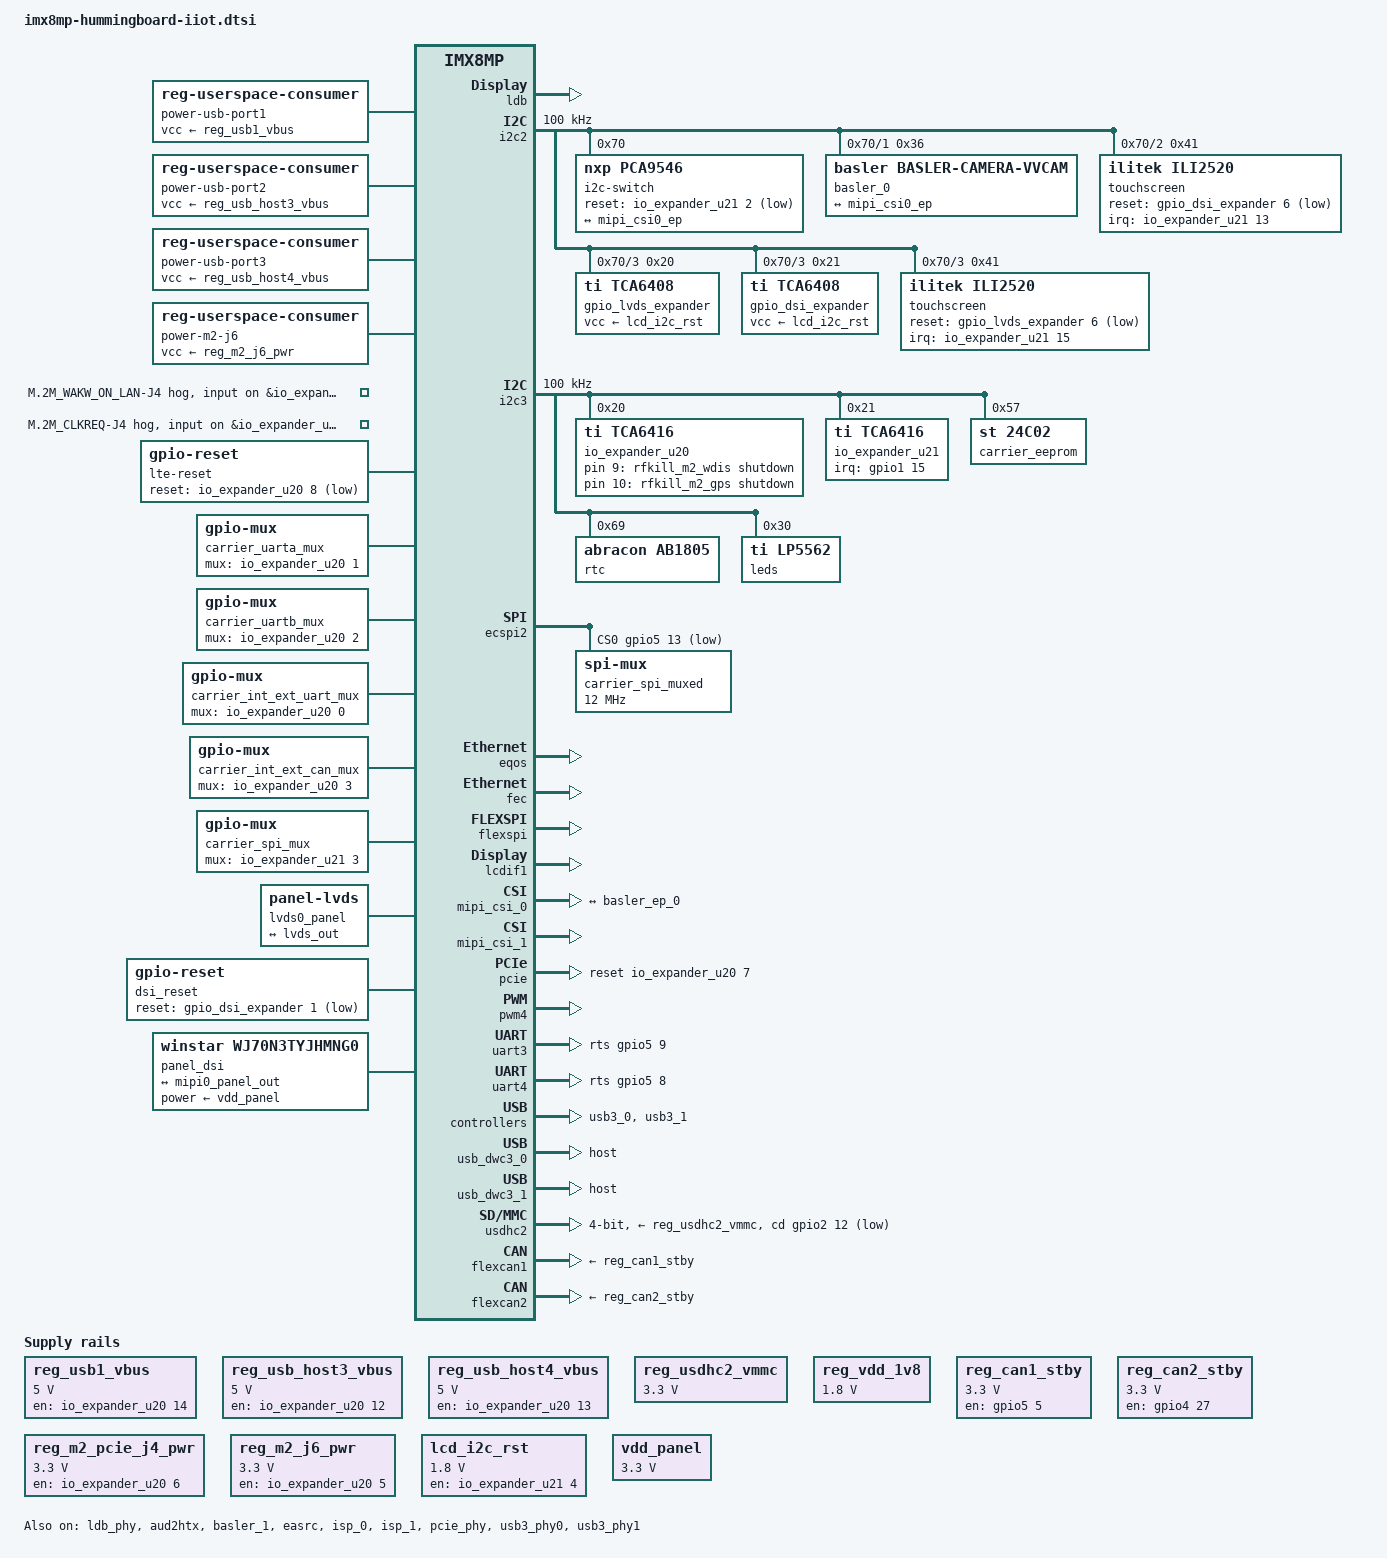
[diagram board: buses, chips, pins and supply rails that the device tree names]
// SPDX-License-Identifier: (GPL-2.0+ OR MIT)
/*
 * Copyright (c) 2024 SolidRun Ltd.
 */

#include <dt-bindings/leds/common.h>
#include <dt-bindings/usb/pd.h>
#include <dt-bindings/gpio/gpio.h>
#include <dt-bindings/interrupt-controller/irq.h>
#include "imx8mp-sr-som.dtsi"

/* UARTA (UART3): Select RS232 or RS485 */
#define UARTA_SEL_RS232_RS485 1 // {0:RS323,1:RS485}
/* UARTB (UART4): Select RS232 or RS485 */
#define UARTB_SEL_RS232_RS485 1 // {0:RS323,1:RS485}
/* UARTA and UARTB: Select Internal or External */
#define UARTA_UARTB_SEL_INT_EXT 0 // {0:INT,1:EXT}
/* CANA and CANB: Select Internal or External */
#define CANA_CANB_SEL_INT_EXT 0 // {0:INT,1:EXT}
/* SPI MUX TPM/EXT {Select TPM or EXTERNAL_SPI_DEVICE} */
#define SPI_SEL_TPM_EXT 0 // {0:TPM,1:EXT}

/ {
	/* USB1_VBUS */
	power-usb-port1 {
		compatible = "reg-userspace-consumer";
		regulator-name = "usb-port1-pwr-consumer";
		regulator-boot-on;
		regulator-supplies = "vcc";
		vcc-supply = <&reg_usb1_vbus>;
		comment = "USB Port1 vbus power switch";
	};

	/* USB_HOST3_VBUS */
	power-usb-port2 {
		compatible = "reg-userspace-consumer";
		regulator-name = "usb-port2-pwr-consumer";
		regulator-boot-on;
		regulator-supplies = "vcc";
		vcc-supply = <&reg_usb_host3_vbus>;
		comment = "USB Port2 vbus power switch";
	};

	/* USB_HOST4_VBUS */
	power-usb-port3 {
		compatible = "reg-userspace-consumer";
		regulator-name = "usb-port3-pwr-consumer";
		regulator-boot-on;
		regulator-supplies = "vcc";
		vcc-supply = <&reg_usb_host4_vbus>;
		comment = "USB Port3 vbus power switch";
	};

	/* USB1_PWR_EN (USB1_VBUS) */
	reg_usb1_vbus: regulator-usb1-vbus {
		compatible = "regulator-fixed";
		regulator-name = "usb1_vbus";
		pinctrl-names = "default";
		regulator-min-microvolt = <5000000>;
		regulator-max-microvolt = <5000000>;
		gpio = <&io_expander_u20 14 GPIO_ACTIVE_HIGH>; /* TBD - USB1_PWR_EN */
		enable-active-high;
	};

	/* USB_HUB3_PWR_EN (USB_HOST3_VBUS) */
	reg_usb_host3_vbus: regulator-usb1-vbus {
		compatible = "regulator-fixed";
		regulator-name = "usb_host3_vbus";
		pinctrl-names = "default";
		regulator-min-microvolt = <5000000>;
		regulator-max-microvolt = <5000000>;
		gpio = <&io_expander_u20 12 GPIO_ACTIVE_HIGH>; /* TBD - USB1_PWR_EN */
		enable-active-high;
	};

	/* USB_HUB4_PWR_EN (USB_HOST4_VBUS) */
	reg_usb_host4_vbus: regulator-usb1-host-vbus {
		compatible = "regulator-fixed";
		regulator-name = "usb_host4_vbus";
		pinctrl-names = "default";
		regulator-min-microvolt = <5000000>;
		regulator-max-microvolt = <5000000>;
		gpio = <&io_expander_u20 13 GPIO_ACTIVE_HIGH>; /* TBD - USB_HUB3_PWR_EN */
		enable-active-high;
	};

	/* uSD regulator */
	reg_usdhc2_vmmc: regulator-usdhc2 {
		compatible = "regulator-fixed";
		pinctrl-names = "default";
		pinctrl-0 = <&pinctrl_reg_usdhc2_vmmc>;
		regulator-name = "VSD_3V3";
		regulator-min-microvolt = <3300000>;
		regulator-max-microvolt = <3300000>;
		//gpio = <&gpio2 19 GPIO_ACTIVE_HIGH>;
		regulator-always-on;
	};

	reg_vdd_1v8: regulator-vdd-1v8 {
		compatible = "regulator-fixed";
		regulator-name = "VDD_1V8";
		vdd-3v3-supply = <&buck4>;
		regulator-min-microvolt = <1800000>;
		regulator-max-microvolt = <1800000>;
		regulator-always-on;
	};

	/* CAN-1 Regulator */
	reg_can1_stby: regulator-can1-stby {
		compatible = "regulator-fixed";
		regulator-name = "can1-stby";
		pinctrl-names = "default";
		pinctrl-0 = <&pinctrl_flexcan1_reg>;
		regulator-min-microvolt = <3300000>;
		regulator-max-microvolt = <3300000>;
		gpio = <&gpio5 5 GPIO_ACTIVE_HIGH>;
		enable-active-high;
	};

	/* CAN-2 Regulator */
	reg_can2_stby: regulator-can2-stby {
		compatible = "regulator-fixed";
		regulator-name = "can2-stby";
		pinctrl-names = "default";
		pinctrl-0 = <&pinctrl_flexcan2_reg>;
		regulator-min-microvolt = <3300000>;
		regulator-max-microvolt = <3300000>;
		gpio = <&gpio4 27 GPIO_ACTIVE_HIGH>;
		enable-active-high;
	};

	/*
		* J4: M.2 Support PCIe only (M.2 KEY-M)
		* J6: M.2 Support USB3.0/USB2.0 (M.2 KEY-B)
		*
	*/

	/* J4: M.2M_3V3_EN */
	reg_m2_pcie_j4_pwr: regulator-m2-pcie-j4-pwr {
		compatible = "regulator-fixed";
		regulator-name = "m2-j4-pcie-pwr";
		pinctrl-names = "default";
		regulator-min-microvolt = <3300000>;
		regulator-max-microvolt = <3300000>;
		gpio = <&io_expander_u20 6 GPIO_ACTIVE_HIGH>; // U20[P6]
		enable-active-high;
	};

	/* J6: M.2B_3V3 */
	power-m2-j6 {
		compatible = "reg-userspace-consumer";
		regulator-name = "m2-j6-pwr-consumer";
		regulator-boot-on;
		regulator-supplies = "vcc";
		vcc-supply = <&reg_m2_j6_pwr>;
		comment = "m.2 j6 3.3V connector switch";
	};

	/* J6: M.2B_3V3_EN */
	reg_m2_j6_pwr: regulator-m2-j6-pwr {
		compatible = "regulator-fixed";
		regulator-name = "m2-j6-pwr";
		pinctrl-names = "default";
		regulator-min-microvolt = <3300000>;
		regulator-max-microvolt = <3300000>;
		gpio = <&io_expander_u20 5 GPIO_ACTIVE_HIGH>; // U20[P5]
		enable-active-high;
	};

	/* Enable this node for M.2 LTE modem rfkill support (M.2 J6) */
	rfkill_m2_wdis {
		compatible = "rfkill-gpio";
		pinctrl-names = "default";
		rfkill-name = "m2_wdis";
		rfkill-type = <5>;
		shutdown-gpio = <&io_expander_u20 9 GPIO_ACTIVE_HIGH>; // M.2B_W_DIS U20_P[11]
		status = "okay";
	};

	/* GPIO Controll M.2-J6 rfkill */
	rfkill_m2_gps {
		compatible = "rfkill-gpio";
		pinctrl-names = "default";
		rfkill-name = "m2_gps";
		rfkill-type = <6>;
		shutdown-gpio = <&io_expander_u20 10 GPIO_ACTIVE_HIGH>;// M.2B_GPS_EN U20_P[12]
		status = "okay";
	};

	/* M.2M-J4 PCIe Wake-On LAN */
	gpio-m2m-wakew-on-lan-hog {
		gpio-hog;
		gpios = <&io_expander_u21 11 GPIO_ACTIVE_HIGH>;// M.2M_WAKW_ON_LAN U21_P[13]
		input;
		line-name = "M.2M_WAKW_ON_LAN-J4";
	};

	/* M.2M-J4 PCIe CLKREQ */
	gpio-m2m-clkreq-hog {
		gpio-hog;
		gpios = <&io_expander_u21 12 GPIO_ACTIVE_HIGH>; // M.2M_CLKREQ U21_P[14]
		input;
		line-name = "M.2M_CLKREQ-J4";
	};

	/* M.2B-J4 Reset */
	lte-reset {
		compatible = "gpio-reset";
		reset-gpios = <&io_expander_u20 8 GPIO_ACTIVE_LOW>; // M.2B_RESET U20_P[10]
		reset-delay-us = <2000>;
		reset-post-delay-ms = <40>;
		#reset-cells = <0>;
	};

	/* UARTA (UART3): Select RS232 or RS485 */
    carrier_uarta_mux: uarta-mux-controller_carrier {
        compatible = "gpio-mux";
        #mux-control-cells = <0>;
        mux-gpios = <&io_expander_u20 1 GPIO_ACTIVE_HIGH>; // UARTA_232/485 U20_P[1]
		#if UARTA_SEL_RS232_RS485
			idle-state = <1>; /* RS485 */
		#else
		idle-state = <0>; /* RS232 */
		#endif
    };

	/* UARTB (UART4): Select RS232 or RS485 */
    carrier_uartb_mux: uartb-mux-controller_carrier {
        compatible = "gpio-mux";
        #mux-control-cells = <0>;
        mux-gpios = <&io_expander_u20 2 GPIO_ACTIVE_HIGH>; // UARTB_232/485 U20_P[2]
		#if UARTB_SEL_RS232_RS485
			idle-state = <1>; /* RS485 */
		#else
			idle-state = <0>; /* RS232 */
		#endif
    };

	/* UARTA and UARTB: Select Internal or External */
    carrier_int_ext_uart_mux: int-ext-uart-mux-controller_carrier {
        compatible = "gpio-mux";
        #mux-control-cells = <0>;
        mux-gpios = <&io_expander_u20 0 GPIO_ACTIVE_HIGH>; // INT/EXT_UART U20_P[0]
		#if UARTA_UARTB_SEL_INT_EXT
			idle-state = <1>; /* External */
		#else
		idle-state = <0>; /* Internal */
		#endif
    };

	/* CANA and CANB: Select Internal or External */
    carrier_int_ext_can_mux: int-ext-can-mux-controller_carrier {
        compatible = "gpio-mux";
        #mux-control-cells = <0>;
        mux-gpios = <&io_expander_u20 3 GPIO_ACTIVE_HIGH>; // INT/EXT_CAN U20_P[3]
		#if CANA_CANB_SEL_INT_EXT
			idle-state = <1>; /* External */
		#else
		idle-state = <0>; /* Internal */
		#endif
    };

	/* SPI MUX TPM/EXT {Select TPM or EXTERNAL_SPI_DEVICE} */
    carrier_spi_mux: spi-mux-controller_carrier {
        compatible = "gpio-mux"; // MUX Type: 'TMUX1574Dx'
        #mux-control-cells = <0>;
        mux-gpios = <&io_expander_u21 3 GPIO_ACTIVE_HIGH>; // SPI_TPM/EXT U21_P[0]
		#if SPI_SEL_TPM_EXT
			idle-state = <1>; /* External */
		#else
		idle-state = <0>; /* Internal */
		#endif
    };

	/* MIPI-DSI and LVDS I/O Exapnders (U37, U48) Reset */
    lcd_i2c_rst: lcd-i2c-rst {
        compatible = "regulator-fixed";
        regulator-name = "lcd_i2c_rst";
        regulator-min-microvolt = <1800000>;
        regulator-max-microvolt = <1800000>;
        gpios = <&io_expander_u21 4 GPIO_ACTIVE_HIGH>; //
        enable-active-high;
    };

    /* LVDS [J24] */
	/* Setting for Winstar Display 'WF70A8SYJHLNGA' */
	lvds0_panel {
		compatible = "panel-lvds";
		status = "okay";
		width-mm = <154>;
		height-mm = <86>;
		//backlight = <&backlight_lvds>;
		data-mapping = "vesa-24";

		panel-timing {
			/* timing for panel WF70A8SYJHLNGA */
			/* 1024x600@60Hz */
			clock-frequency = <51200000>;
			hactive = <1024>;
			vactive = <600>;
			hfront-porch = <90>;
			hback-porch = <160>;
			hsync-len = <70>;
			vfront-porch = <10>;
			vback-porch = <23>;
			vsync-len = <2>;
		};

		port {
			panel_lvds_in: endpoint {
				remote-endpoint = <&lvds_out>;
			};
		};
	};

	dsi_reset: dsi-reset {
		compatible = "gpio-reset"; // "regulator-fixed";
		reset-gpios = <&gpio_dsi_expander 1 GPIO_ACTIVE_LOW>;
		reset-delay-us = <2000>;
		reset-post-delay-ms = <40>;
		#reset-cells = <0>;
	};

	vdd_panel: vdd-panel {
			compatible = "regulator-fixed";
			regulator-name = "vdd_panel";
			regulator-min-microvolt = <3300000>;
			regulator-max-microvolt = <3300000>;
		#if 0 // <TBD>
			gpios = <&io_expander_u20 15 GPIO_ACTIVE_HIGH>;
			enable-active-high;
		#endif
	};

#if 1
	/* DSI Panel - Winstar WJ70N3TYJHMNG0 [J25] */
	panel_dsi: panel-dsi {
		status = "okay";
		compatible = "winstar,wj70n3tyjhmng0"; // "panel-simple-dsi"
		//reg = <0>;
		power-supply = <&vdd_panel>;
        dsi-lanes = <4>;
		port {
			panel0_in: endpoint {
					remote-endpoint = <&mipi0_panel_out>;
			};
		};
	};
#endif
};

&ldb {
	status = "okay";
	lvds-channel@0 {
			fsl,data-mapping = "spwg";
			fsl,data-width = <24>;
			status = "okay";

			port@1 {
					reg = <1>;

					lvds_out: endpoint {
							remote-endpoint = <&panel_lvds_in>;
					};
			};
	};
};

&ldb_phy {
    status = "okay";
};

&i2c2 {
	clock-frequency = <100000>;
	pinctrl-names = "default";
	pinctrl-0 = <&pinctrl_i2c2>;
	status = "okay";

	/* I2C Swich - PCA9546x */
    i2c-switch@70 {
		/*
		* channel0: External I2C
		* channel1: CSI I2C
		* channel2: DSI I2C
		* channel3: LVDS I2C
		*/
        compatible = "nxp,pca9546";
        reg = <0x70>;
        #address-cells = <1>;
		#size-cells = <0>;
        reset-gpios = <&io_expander_u21 2 GPIO_ACTIVE_LOW>;

		/* channel0: External I2C */
		i2c_ext: i2c@0 {
			#address-cells = <1>;
			#size-cells = <0>;
			reg = <0>;
		};

		/* channel1: CSI I2C */
        i2c_csi: i2c@1 {
			#address-cells = <1>;
			#size-cells = <0>;
			reg = <1>;

			basler_0: basler_camera_vvcam@36 {
				compatible = "basler,basler-camera-vvcam", "basler-camera-vvcam";
				reg = <0x36>;
				csi_id = <0x00>;
				status = "okay";

				port {
					basler_ep_0: endpoint {
						data-lanes = <1 2 3 4>;
						clock-lanes = <0>;
						link-frequencies = /bits/ 64 <750000000>;

						max-lane-frequency = /bits/ 64 <750000000>;
						max-pixel-frequency = /bits/ 64 <266000000>;
						max-data-rate = /bits/ 64 <0>;

						remote-endpoint = <&mipi_csi0_ep>;
					};
				};
			};
		};

		/* channel2: DSI I2C */
        i2c_dsi: i2c@2 {
			#address-cells = <1>;
			#size-cells = <0>;
			reg = <2>;

			/* DSI Touch Screen [J25] */
			touchscreen@41 {
				/* ili2520 part of the Winstart Display WJ70N3TYJHMNG0 */
				compatible = "ilitek,ili2520";
				reg = <0x41>;

				interrupt-parent = <&io_expander_u21>;
				interrupts = <13 IRQ_TYPE_LEVEL_LOW>;	// <TBD> U21_P[15]=LVDS_INT (shared INT for DSI and LVDS)
				reset-gpios = <&gpio_dsi_expander 6 GPIO_ACTIVE_LOW>; // DSI_CTP/RST U48_P[6] (External Reset, Low is active)
				//touchscreen-inverted-y;
				//wakeup-source;
			};
		};

		/* channel3: LVDS I2C */
		i2c_lvds: i2c@3 {
			#address-cells = <1>;
			#size-cells = <0>;
			reg = <3>;

			/* io_expander_u37 */
			gpio_lvds_expander: tca6408@20 {
				compatible = "ti,tca6408";
				reg = <0x20>;
				gpio-controller;
				#gpio-cells = <2>;
				vcc-supply = <&lcd_i2c_rst>;
				gpio-line-names =
				"SELB",
				"LVDS_RESET",
				"LVDS_STBYB",
				"LVDS_PWM_BL",
				"LVDS_L/R",
				"LVDS_U/D",
				"LVDS_CTP_/RST",
				"NC-7";
				SELB_hog {
					gpio-hog;
					gpios = <0 GPIO_ACTIVE_HIGH>;
					output-high;
					line-name = "SELB";
				};
			#if 1
				LVDS_RESET_hog {
					gpio-hog;
					gpios = <1 GPIO_ACTIVE_HIGH>;
					output-high;
					line-name = "LVDS_RESET";
				};
				LVDS_STBYB_hog {
					gpio-hog;
					gpios = <2 GPIO_ACTIVE_HIGH>;
					output-high;
					line-name = "LVDS_STBYB";
				};
			#endif
				/* Display Backlight control signal*/
				LVDS_PWM_BL_hog {
					gpio-hog;
					gpios = <3 GPIO_ACTIVE_LOW>;
					output-high;
					line-name = "LVDS_PWM_BL";
				};
				LVDS_LR_hog {
					gpio-hog;
					gpios = <4 GPIO_ACTIVE_HIGH>;
					output-high;
					line-name = "LVDS_L/R";
				};
				LVDS_UD_hog {
					gpio-hog;
					gpios = <5 GPIO_ACTIVE_HIGH>;
					output-high;
					line-name = "LVDS_U/D";
				};
				/* // <TBD>
				LVDS_CTP_RST_hog {
					gpio-hog;
					gpios = <6 GPIO_ACTIVE_HIGH>;
					output-high;
					line-name = "LVDS_CTP_/RST";
				};
				*/
			};

			/* io_expander_u48 */
			gpio_dsi_expander: tca6408@21 {
				compatible = "ti,tca6408";
				reg = <0x21>;
				gpio-controller;
				#gpio-cells = <2>;
				vcc-supply = <&lcd_i2c_rst>;
				gpio-line-names =
				"NC-0",
				"DSI_RESET",
				"DSI_STBYB",
				"DSI_PWM_BL",
				"DSI_L/R",
				"DSI_U/D",
				"DSI_CTP_/RST",
				"NC-7";
			#if 1 // <TBD>
				DSI_RESET_hog {
					gpio-hog;
					gpios = <1 GPIO_ACTIVE_HIGH>;
					output-high;
					line-name = "DSI_RESET";
				};

				DSI_STBYB_hog {
					gpio-hog;
					gpios = <2 GPIO_ACTIVE_HIGH>;
					output-high;
					line-name = "DSI_STBYB";
				};
			#endif
				/* Display Backlight control signal*/
				DSI_PWM_BL_hog {
					gpio-hog;
					gpios = <3 GPIO_ACTIVE_LOW>;
					output-high;
					line-name = "DSI_PWM_BL";
				};
				DSI_LR_hog {
					gpio-hog;
					gpios = <4 GPIO_ACTIVE_HIGH>;
					output-high;
					line-name = "DSI_L/R";
				};
				DSI_UD_hog {
					gpio-hog;
					gpios = <5 GPIO_ACTIVE_HIGH>;
					output-high;
					line-name = "DSI_U/D";
				};
				/*
				DSI_CTP_RST_hog {
					gpio-hog;
					gpios = <6 GPIO_ACTIVE_HIGH>;
					output-high;
					line-name = "DSI_CTP_/RST";
				};
				*/
			};

			/* LVDS Touch Screen [J24] */
			touchscreen@41 {
				/* ili2520 part of the Winstart Display WF70A8SYJHLNGA */
				compatible = "ilitek,ili2520";
				reg = <0x41>;

				interrupt-parent = <&io_expander_u21>;
				interrupts = <15 IRQ_TYPE_LEVEL_LOW>; // <TBD> U21_P[15]=LVDS_INT (shared INT for DSI and LVDS)
				reset-gpios = <&gpio_lvds_expander 6 GPIO_ACTIVE_LOW>; // LVDS_CTP/RST U37_P[6] (External Reset, Low is active)
				//touchscreen-inverted-y;
				//wakeup-source;
			};
		};
	};
};

&i2c3 {
    clock-frequency = <100000>;
	pinctrl-names = "default";
	pinctrl-0 = <&pinctrl_i2c3>;
    status = "okay";

    /* io_expander_u20 */
    io_expander_u20: gpio@20 {
        compatible = "ti,tca6416";
        reg = <0x20>;
        gpio-controller;
        #gpio-cells = <2>;
        gpio-line-names =
        "TCA_INT/EXT_UART",
        "TCA_UARTA_232/485",
        "TCA_UARTB_232/485",
        "TCA_INT/EXT_CAN",
        "TCA_NXP/REN",
        "TCA_M.2B_3V3_EN",
        "TCA_M.2M_3V3_EN",
        "TCA_M.2M_RESET#",
        "TCA_M.2B_RESET#",
        "TCA_M.2B_W_DIS#",
        "TCA_M.2B_GPS_EN#",
        "TCA_USB-HUB_RST#",
        "TCA_USB_HUB3_PWR_EN",
        "TCA_USB_HUB4_PWR_EN",
        "TCA_USB1_PWR_EN",
        "TCA_VIDEO_PWR_EN";

		NXP_REN_hog {
			gpio-hog;
			gpios = <4 GPIO_ACTIVE_HIGH>;
			output-high;
			line-name = "NXP_REN";
		};

	#if 1
		VIDEO_PWR_EN_hog {
			gpio-hog;
			gpios = <15 GPIO_ACTIVE_HIGH>;
			output-high;
			line-name = "VIDEO_PWR_EN";
		};
	#endif
    };

    /* io_expander_u21 */
    io_expander_u21: gpio@21 {
        compatible = "ti,tca6416";
        reg = <0x21>;
        gpio-controller;
        #gpio-cells = <2>;
		interrupt-controller;
		#interrupt-cells = <2>;
        interrupt-parent = <&gpio1>; //GPIO1_IO15
        interrupts = <15 IRQ_TYPE_EDGE_FALLING>;//IRQ_TYPE_LEVEL_LOW, IRQ_TYPE_EDGE_FALLING, xxIRQ_TYPE_EDGE_RISING,
        gpio-line-names =
        "TCA_SPI_TPM/EXT",
        "TCA_TPM_RST#",
        "TCA_I2C_RST",
        "TCA_RS232_SHTD#",
        "TCA_LCD_I2C_RST",
        "TCA_DIG_OUT1",
        "TCA_bDIG_IN1",
        "TCA_SENS_INT",
        "TCA_ALERT#",
        "TCA_TPM_PIRQ#",
        "TCA_RTC_INT",
        "TCA_M.2M_WAKW_ON_LAN",
        "TCA_M.2M_CLKREQ#",
        "TCA_LVDS_INT#",
        "TCA_NC",
        "TCA_POE_AT";

		TCA_POE_AT_hog {
			gpio-hog;
			gpios = <15 GPIO_ACTIVE_HIGH>;
			output-high;
			line-name = "TCA_POE_AT";
		};
    };

    carrier_eeprom: eeprom_at24c02@57 {
        compatible = "st,24c02", "atmel,24c02";
        reg = <0x57>;
        pagesize = <8>;
    };

    rtc: rtc_am1805@69 {
        compatible = "abracon,ab1805";
        reg = <0x69>;
        abracon,tc-diode = "schottky";
		abracon,tc-resistor = <3>;
    };

    charger: battery-charger@68 {
        // Not assembled
        status = "disabled";
        compatible = "lltc,ltc4162-l";
        reg = <0x68>;
        // lltc,rsnsb-micro-ohms = <10000>;
        // lltc,rsnsi-micro-ohms = <16000>;
        // lltc,cell-count = <2>;
    };

    accelerometer: accelerometer@2a {
        // Not assembled
        status = "disabled";
        compatible = "adi,adxl345";
        reg = <0x2a>;
        // interrupt-parent = <&io_expander_u21>;
        // interrupts = <7 IRQ_TYPE_LEVEL_HIGH>;
    };

    ambient_light: ambient_light@44 {
        // Not assembled
        status = "disabled";
        compatible = "isil,isl29023";
        reg = <0x44>;
        // interrupt-parent = <&io_expander_u21>;
        // interrupts = <7 IRQ_TYPE_LEVEL_HIGH>;
    };

    leds: led-controller@30 {
        compatible = "ti,lp5562";
        reg = <0x30>;
        clock-mode = /bits/ 8 <1>;
        #address-cells = <1>;
        #size-cells = <0>;
        pwr-sel = <0>;

        chan@0 {
            chan-name = "R";
            led-cur = /bits/ 8 <0x20>;
            max-cur = /bits/ 8 <0x60>;
            reg = <0>;
            color = <LED_COLOR_ID_RED>;
        };

        chan@1 {
            chan-name = "G";
            led-cur = /bits/ 8 <0x20>;
            max-cur = /bits/ 8 <0x60>;
            reg = <1>;
            color = <LED_COLOR_ID_GREEN>;
        };

        chan@2 {
            chan-name = "B";
            led-cur = /bits/ 8 <0x20>;
            max-cur = /bits/ 8 <0x60>;
            reg = <2>;
            color = <LED_COLOR_ID_BLUE>;
        };

        chan@3 {
            chan-name = "D8";
            led-cur = /bits/ 8 <0x20>;
            max-cur = /bits/ 8 <0x60>;
            reg = <3>;
            color = <LED_COLOR_ID_GREEN>;
        };
    };
};

&ecspi2 {
	#address-cells = <1>;
	#size-cells = <0>;
	fsl,spi-num-chipselects = <1>;
	pinctrl-names = "default";
	pinctrl-0 = <&pinctrl_ecspi2 &pinctrl_ecspi2_cs>;
	cs-gpios = <&gpio5 13 GPIO_ACTIVE_LOW>;
	status = "okay";

    carrier_spi_muxed: spi@0 {
		compatible = "spi-mux";
		reg = <0>;
		#address-cells = <1>;
		#size-cells = <0>;
		spi-max-frequency = <12000000>;
		mux-controls = <&carrier_spi_mux>;

		carrier_tpm: tpm@0 {
		    compatible = "infineon,slb9670", "tcg,tpm_tis-spi";
		    reg = <0>;
		    spi-max-frequency = <10000000>;
		};

		carrier_conn: carrier_conn_spi@1 {
		    status = "okay";
		    compatible = "linux,spidev";
		    reg = <1>;
		    spi-max-frequency = <10000000>;
		};
    };
};

/* eth0 */
&eqos {
	status = "okay";
};

/* eth1 */
&fec {
	status = "okay";
};

&flexspi {
	pinctrl-names = "default";
	pinctrl-0 = <&pinctrl_flexspi0>;
	status = "okay";
};

&aud2htx {
	status = "okay";
};

&basler_1 {
	status = "okay";
};

&easrc {
	fsl,asrc-rate  = <48000>;
	status = "okay";
};

&irqsteer_hdmi {
	status = "disabled";
};

&hdmi {
	status = "disabled";
};

&hdmi_blk_ctrl {
	status = "disabled";
};

&hdmi_pavi {
	status = "disabled";
};

&hdmiphy {
	status = "disabled";
};

&isp_0 {
	status = "okay";
};

&isp_1 {
	status = "okay";
};

/* mipi-dsi */
&lcdif1 {
	status = "okay";
};

&lcdif3 {
	status = "disabled";
};

&micfil {
	pinctrl-names = "default";
	assigned-clocks = <&clk IMX8MP_CLK_PDM>;
	assigned-clock-parents = <&clk IMX8MP_AUDIO_PLL1_OUT>;
	assigned-clock-rates = <196608000>;
	status = "disabled";
};

&mipi_csi_0 {
	#address-cells = <1>;
	#size-cells = <0>;
	clock-frequency = <266000000>;
	assigned-clock-parents = <&clk IMX8MP_SYS_PLL1_266M>;
	assigned-clock-rates = <266000000>;
	status = "okay";

	port@0 {
		reg = <0>;
		mipi_csi0_ep: endpoint {
			remote-endpoint = <&basler_ep_0>;
			data-lanes = <4>;
			csis-hs-settle = <16>;
		};
	};

};

&mipi_csi_1 {
	status = "okay";
};

&mipi_dsi {
	status = "disabled";
	#if 0 // <TBD>
	panel@0 {
		/* Winstart Display WJ70N3TYJHMNG0 [J25] */
		status = "okay";
		compatible = "winstar,wj70n3tyjhmng0";
		reg = <0>;
		power-supply = <&vdd_panel>;
		dsi-lanes = <4>;
		port {
			panel0_in: endpoint {
					remote-endpoint = <&mipi0_panel_out>;
			};
		};
	};
	#endif

	port@1 {
		reg = <1>;
		mipi0_panel_out: endpoint {
			remote-endpoint = <&panel0_in>;
			//attach-bridge;
		};
	};
};

&pcie{
	pinctrl-names = "default";
	ext_osc = <0>;
	clocks = <&clk IMX8MP_CLK_HSIO_ROOT>,
		 <&clk IMX8MP_CLK_PCIE_AUX>,
		 <&clk IMX8MP_CLK_HSIO_AXI>,
		 <&clk IMX8MP_CLK_PCIE_ROOT>;
	clock-names = "pcie", "pcie_aux", "pcie_phy", "pcie_bus";
	assigned-clocks = <&clk IMX8MP_CLK_HSIO_AXI>,
			  <&clk IMX8MP_CLK_PCIE_AUX>;
	assigned-clock-rates = <500000000>, <10000000>;
	assigned-clock-parents = <&clk IMX8MP_SYS_PLL2_500M>,
				 <&clk IMX8MP_SYS_PLL2_50M>;
	vpcie-supply = <&reg_m2_pcie_j4_pwr>;
    reset-gpio = <&io_expander_u20 7 GPIO_ACTIVE_HIGH>;
	status = "okay";
};

&pcie_phy{
	ext_osc = <0>;
	status = "okay";
};

&pwm4 {
	pinctrl-names = "default";
	pinctrl-0 = <&pinctrl_pwm4>;
	status = "okay";
};

&sai3 {
	status = "disabled";
};

&sdma2 {
        status = "okay";
};

/* UARTA: RS485-A / RS232-A */
&uart3 {
	pinctrl-names = "default";
	pinctrl-0 = <&pinctrl_uart3>;
	assigned-clocks = <&clk IMX8MP_CLK_UART3>;
	assigned-clock-parents = <&clk IMX8MP_SYS_PLL1_80M>;
	status = "okay";

#if UARTA_SEL_RS232_RS485
	/*RS485-A (UARTA_TX/UARTA_RX)*/
	rts-gpios = <&gpio5 9 GPIO_ACTIVE_HIGH>;
	linux,rs485-enabled-at-boot-time;
	//rs485-rts-delay;
#endif
};

/* UARTB: RS485-B / RS232-B */
&uart4 {
	pinctrl-names = "default";
	pinctrl-0 = <&pinctrl_uart4>;
	assigned-clocks = <&clk IMX8MP_CLK_UART4>;
	assigned-clock-parents = <&clk IMX8MP_SYS_PLL1_80M>; // <&clk IMX8MP_CLK_24M>;
	status = "okay";

#if UARTB_SEL_RS232_RS485
	/*RS485-B (UARTB_TX/UARTB_RX)*/
	rts-gpios = <&gpio5 8 GPIO_ACTIVE_HIGH>;
	linux,rs485-enabled-at-boot-time;
	//rs485-rts-delay;
#endif
};

&usb3_phy0 {
	fsl,phy-tx-vref-tune = <0xe>;
	fsl,phy-tx-preemp-amp-tune = <3>;
	fsl,phy-tx-vboost-level = <5>;
	fsl,phy-comp-dis-tune = <7>;
	fsl,pcs-tx-deemph-3p5db = <0x21>;
	fsl,phy-pcs-tx-swing-full = <0x7f>;
	status = "okay";
};

&usb3_0 {
	status = "okay";
};

&usb_dwc3_0 {
	dr_mode = "host";
	snps,dis-u1-entry-quirk;
	snps,dis-u2-entry-quirk;
	status = "okay";
};

&usb3_phy1 {
	fsl,phy-tx-preemp-amp-tune = <3>;
	fsl,phy-tx-vref-tune = <0xb>;
	status = "okay";
};

&usb3_1 {
	status = "okay";
};

&usb_dwc3_1 {
	dr_mode = "host";
	snps,parkmode-disable-ss-quirk;
	status = "okay";
};

&usdhc2 {
	assigned-clocks = <&clk IMX8MP_CLK_USDHC2>;
	assigned-clock-rates = <400000000>;
	pinctrl-names = "default", "state_100mhz", "state_200mhz";
	pinctrl-0 = <&pinctrl_usdhc2>, <&pinctrl_usdhc2_gpio>;
	pinctrl-1 = <&pinctrl_usdhc2_100mhz>, <&pinctrl_usdhc2_gpio>;
	pinctrl-2 = <&pinctrl_usdhc2_200mhz>, <&pinctrl_usdhc2_gpio>;
	cd-gpios = <&gpio2 12 GPIO_ACTIVE_LOW>;
	vmmc-supply = <&reg_usdhc2_vmmc>;
	voltage-ranges = <1800 1800 3300 3300>;
	bus-width = <4>;
	status = "okay";
};

/*
CAN MUX:
	EXT_CAN = 0
	NXP/REN = 1
*/
&flexcan1 {
	pinctrl-names = "default";
	pinctrl-0 = <&pinctrl_flexcan1>;
	xceiver-supply = <&reg_can1_stby>;
	status = "okay";
};

&flexcan2 {
	pinctrl-names = "default";
	pinctrl-0 = <&pinctrl_flexcan2>;
	xceiver-supply = <&reg_can2_stby>;
	status = "okay";
};

&iomuxc {
	pinctrl-names = "default";
	pinctrl-0 = <&pinctrl_hog>;

	pinctrl_ecspi2: ecspi2grp {
		fsl,pins = <
			MX8MP_IOMUXC_ECSPI2_SCLK__ECSPI2_SCLK		0x82
			MX8MP_IOMUXC_ECSPI2_MOSI__ECSPI2_MOSI		0x82
			MX8MP_IOMUXC_ECSPI2_MISO__ECSPI2_MISO		0x82
		>;
	};

	pinctrl_ecspi2_cs: ecspi2cs {
		fsl,pins = <
			MX8MP_IOMUXC_ECSPI2_SS0__GPIO5_IO13		0x40000
		>;
	};

	pinctrl_hog: hoggrp {
		fsl,pins = <
		>;
	};

	pinctrl_i2c2: i2c2grp {
		fsl,pins = <
			MX8MP_IOMUXC_I2C2_SCL__I2C2_SCL			0x400001c3
			MX8MP_IOMUXC_I2C2_SDA__I2C2_SDA			0x400001c3
		>;
	};

	pinctrl_i2c3: i2c3grp {
		fsl,pins = <
			MX8MP_IOMUXC_I2C3_SCL__I2C3_SCL			0x400001c3
			MX8MP_IOMUXC_I2C3_SDA__I2C3_SDA			0x400001c3
		>;
	};

	pinctrl_flexspi0: flexspi0grp {
		fsl,pins = <
			MX8MP_IOMUXC_NAND_ALE__FLEXSPI_A_SCLK		0x1c2
			MX8MP_IOMUXC_NAND_CE0_B__FLEXSPI_A_SS0_B	0x82
			MX8MP_IOMUXC_NAND_DATA00__FLEXSPI_A_DATA00	0x82
			MX8MP_IOMUXC_NAND_DATA01__FLEXSPI_A_DATA01	0x82
			MX8MP_IOMUXC_NAND_DATA03__FLEXSPI_A_DATA03	0x82
		>;
	};

	pinctrl_pwm4: pwm4grp {
		fsl,pins = <
			MX8MP_IOMUXC_SAI5_RXFS__PWM4_OUT		0x116
		>;
	};

	pinctrl_reg_usdhc2_vmmc: regusdhc2vmmcgrp {
		fsl,pins = <
			MX8MP_IOMUXC_SD2_RESET_B__GPIO2_IO19		0x40
		>;
	};

	pinctrl_uart3: uart3grp {
		fsl,pins = <
			MX8MP_IOMUXC_ECSPI1_SCLK__UART3_DCE_RX		0x140
			MX8MP_IOMUXC_ECSPI1_MOSI__UART3_DCE_TX		0x140
			//MX8MP_IOMUXC_ECSPI1_SS0__GPIO5_IO09 		0x40
		>;
	};

	pinctrl_uart4: uart4grp {
		fsl,pins = <
			MX8MP_IOMUXC_UART4_RXD__UART4_DCE_RX		0x140
			MX8MP_IOMUXC_UART4_TXD__UART4_DCE_TX		0x140
			//MX8MP_IOMUXC_ECSPI1_MISO__GPIO5_IO08		0x40
		>;
	};

	pinctrl_usdhc2: usdhc2grp {
		fsl,pins = <
			MX8MP_IOMUXC_SD2_CLK__USDHC2_CLK		0x190
			MX8MP_IOMUXC_SD2_CMD__USDHC2_CMD		0x1d0
			MX8MP_IOMUXC_SD2_DATA0__USDHC2_DATA0		0x1d0
			MX8MP_IOMUXC_SD2_DATA1__USDHC2_DATA1		0x1d0
			MX8MP_IOMUXC_SD2_DATA2__USDHC2_DATA2		0x1d0
			MX8MP_IOMUXC_SD2_DATA3__USDHC2_DATA3		0x1d0
			MX8MP_IOMUXC_GPIO1_IO04__USDHC2_VSELECT		0xc1
		>;
	};

	pinctrl_usdhc2_100mhz: usdhc2grp-100mhz {
		fsl,pins = <
			MX8MP_IOMUXC_SD2_CLK__USDHC2_CLK		0x194
			MX8MP_IOMUXC_SD2_CMD__USDHC2_CMD		0x1d4
			MX8MP_IOMUXC_SD2_DATA0__USDHC2_DATA0		0x1d4
			MX8MP_IOMUXC_SD2_DATA1__USDHC2_DATA1		0x1d4
			MX8MP_IOMUXC_SD2_DATA2__USDHC2_DATA2		0x1d4
			MX8MP_IOMUXC_SD2_DATA3__USDHC2_DATA3		0x1d4
			MX8MP_IOMUXC_GPIO1_IO04__USDHC2_VSELECT 	0xc1
		>;
	};

	pinctrl_usdhc2_200mhz: usdhc2grp-200mhz {
		fsl,pins = <
			MX8MP_IOMUXC_SD2_CLK__USDHC2_CLK		0x196
			MX8MP_IOMUXC_SD2_CMD__USDHC2_CMD		0x1d6
			MX8MP_IOMUXC_SD2_DATA0__USDHC2_DATA0		0x1d6
			MX8MP_IOMUXC_SD2_DATA1__USDHC2_DATA1		0x1d6
			MX8MP_IOMUXC_SD2_DATA2__USDHC2_DATA2		0x1d6
			MX8MP_IOMUXC_SD2_DATA3__USDHC2_DATA3		0x1d6
			MX8MP_IOMUXC_GPIO1_IO04__USDHC2_VSELECT 	0xc1
		>;
	};

	pinctrl_usdhc2_gpio: usdhc2grp-gpio {
		fsl,pins = <
			MX8MP_IOMUXC_SD2_CD_B__GPIO2_IO12 		0x1c4
		>;
	};

	/* CANBUS */

	pinctrl_flexcan1: flexcan1grp {
		fsl,pins = <
			MX8MP_IOMUXC_SPDIF_RX__CAN1_RX          0x154
			MX8MP_IOMUXC_SPDIF_TX__CAN1_TX          0x154
		>;
	};

	pinctrl_flexcan2: flexcan2grp {
		fsl,pins = <
			MX8MP_IOMUXC_SAI5_MCLK__CAN2_RX         0x154
			MX8MP_IOMUXC_SAI5_RXD3__CAN2_TX         0x154
		>;
	};

	pinctrl_flexcan1_reg: flexcan1reggrp {
		fsl,pins = <
			MX8MP_IOMUXC_SPDIF_EXT_CLK__GPIO5_IO05  0x154   /* CAN1_STBY */
		>;
	};

	pinctrl_flexcan2_reg: flexcan2reggrp {
		fsl,pins = <
			MX8MP_IOMUXC_SAI2_MCLK__GPIO4_IO27      0x154   /* CAN2_STBY */
		>;
	};

};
